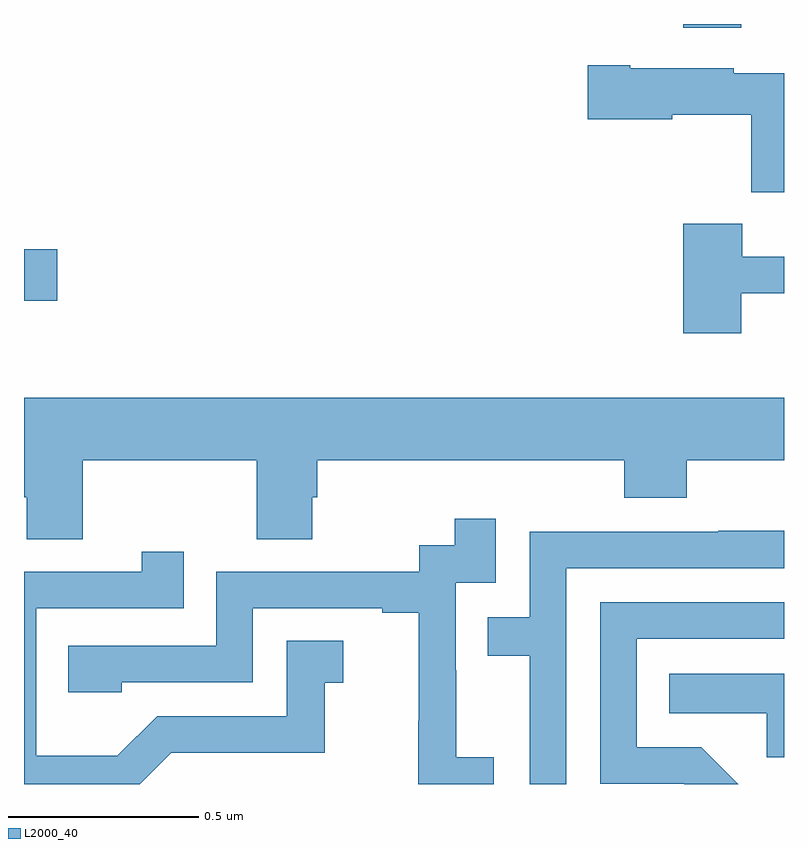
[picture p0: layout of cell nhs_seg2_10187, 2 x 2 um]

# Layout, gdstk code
import gdstk
lib = gdstk.Library(unit=1e-6, precision=1e-09)
def R(c, l, rs):  # rectangles x0, y0, x1, y1
    for r in rs: c.add(gdstk.rectangle(r[:2], r[2:], *l))
def P(c, l, *ps):  # polygons
    for p in ps: c.add(gdstk.Polygon(p, *l))
L2000_40 = (2000, 40)

nhs_seg2_10187 = lib.new_cell('nhs_seg2_10187')
R(nhs_seg2_10187, L2000_40, [(238,632.072,238.087,632.207), (239.735,632.79,239.887,632.8)])
P(nhs_seg2_10187, L2000_40, [(240,632.671),(239.868,632.671),(239.868,632.683),(239.596,632.683),(239.596,632.691),(239.484,632.691),(239.484,632.549),(239.706,632.549),(239.706,632.561),(239.914,632.561),(239.914,632.357),(240,632.357)],
  [(239.887,632.091),(240,632.091),(240,632.188),(239.89,632.188),(239.89,632.275),(239.735,632.275),(239.735,631.986),(239.887,631.986)],
  [(238.155,631.652),(238.612,631.652),(238.612,631.444),(238.759,631.444),(238.759,631.554),(238.772,631.554),(238.772,631.652),(239.579,631.652),(239.579,631.553),(239.744,631.553),(239.744,631.652),(240,631.652),(240,631.816),(238,631.816),(238,631.554),(238.007,631.554),(238.007,631.444),(238.155,631.444)],
  [(239.236,630.871),(239.138,630.871),(239.138,631.1),(239.136,631.1),(239.136,631.329),(239.241,631.329),(239.241,631.498),(239.133,631.498),(239.133,631.428),(239.04,631.428),(239.04,631.359),(238.506,631.359),(238.506,631.164),(238.117,631.164),(238.117,631.041),(238.257,631.041),(238.257,631.068),(238.602,631.068),(238.602,631.263),(238.943,631.263),(238.943,631.251),(239.039,631.251),(239.039,630.967),(239.038,630.967),(239.038,630.8),(239.236,630.8)],
  [(239.427,631.368),(240,631.368),(240,631.466),(239.827,631.466),(239.827,631.464),(239.331,631.464),(239.331,631.239),(239.221,631.239),(239.221,631.138),(239.331,631.138),(239.331,630.8),(239.427,630.8)],
  [(238.387,630.882),(238.791,630.882),(238.791,631.067),(238.84,631.067),(238.84,631.177),(238.692,631.177),(238.692,630.978),(238.35,630.978),(238.246,630.874),(238.032,630.874),(238.032,631.263),(238.421,631.263),(238.421,631.411),(238.31,631.411),(238.31,631.359),(238,631.359),(238,630.8),(238.305,630.8)],
  [(239.782,630.897),(239.613,630.897),(239.613,631.182),(240,631.182),(240,631.278),(239.517,631.278),(239.517,630.801),(239.736,630.801),(239.737,630.8),(239.879,630.8)],
  [(240,631.09),(239.698,631.09),(239.698,630.986),(239.955,630.986),(239.955,630.871),(240,630.871)])

lib.write_gds('nhs_seg2_10187.gds')
